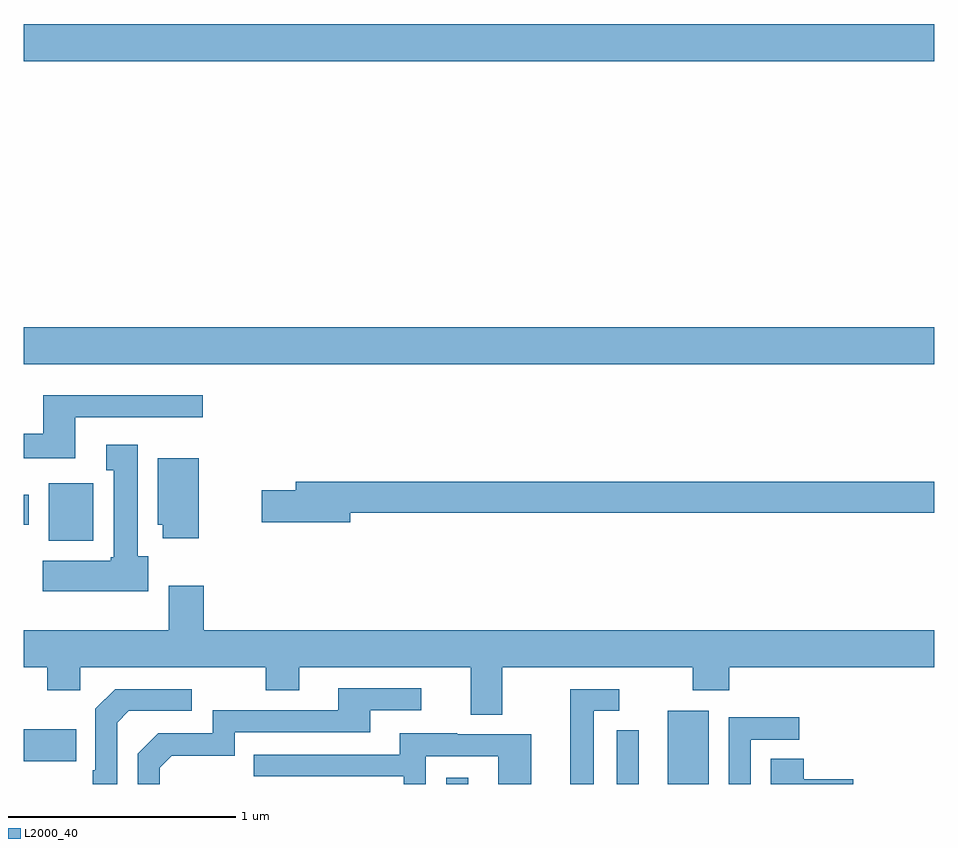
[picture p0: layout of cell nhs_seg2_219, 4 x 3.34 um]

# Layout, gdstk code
import gdstk
lib = gdstk.Library(unit=1e-6, precision=1e-09)
def R(c, l, rs):  # rectangles x0, y0, x1, y1
    for r in rs: c.add(gdstk.rectangle(r[:2], r[2:], *l))
def P(c, l, *ps):  # polygons
    for p in ps: c.add(gdstk.Polygon(p, *l))
L2000_40 = (2000, 40)

nhs_seg2_219 = lib.new_cell('nhs_seg2_219')
R(nhs_seg2_219, L2000_40, [(122.856,637.8,122.953,637.828), (123.83,637.8,124.009,638.122), (121,637.901,121.229,638.041), (121.109,638.87,121.305,639.121), (121,638.94,121.021,639.072), (121,639.644,125,639.808), (121,640.976,125,641.14)])
P(nhs_seg2_219, L2000_40, [(121.225,639.411),(121.786,639.411),(121.786,639.508),(121.085,639.508),(121.085,639.34),(121,639.34),(121,639.231),(121.225,639.231)],
  [(121.546,638.802),(121.501,638.802),(121.501,639.292),(121.361,639.292),(121.361,639.179),(121.394,639.179),(121.394,638.796),(121.381,638.796),(121.381,638.782),(121.082,638.782),(121.082,638.648),(121.546,638.648)],
  [(121.768,639.232),(121.589,639.232),(121.589,638.94),(121.61,638.94),(121.61,638.88),(121.768,638.88)],
  [(122.434,638.992),(125,638.992),(125,639.128),(122.195,639.128),(122.195,639.092),(122.046,639.092),(122.046,638.95),(122.434,638.95)],
  [(123.103,638.312),(123.94,638.312),(123.94,638.213),(124.1,638.213),(124.1,638.312),(125,638.312),(125,638.476),(121.79,638.476),(121.79,638.671),(121.637,638.671),(121.637,638.476),(121,638.476),(121,638.312),(121.102,638.312),(121.102,638.213),(121.248,638.213),(121.248,638.312),(122.062,638.312),(122.062,638.213),(122.209,638.213),(122.209,638.312),(122.963,638.312),(122.963,638.104),(123.103,638.104)],
  [(121.596,637.872),(121.649,637.925),(121.926,637.925),(121.926,638.028),(122.521,638.028),(122.521,638.124),(122.746,638.124),(122.746,638.22),(122.381,638.22),(122.381,638.124),(121.83,638.124),(121.83,638.022),(121.59,638.022),(121.5,637.932),(121.5,637.8),(121.596,637.8)],
  [(123.505,638.121),(123.616,638.121),(123.616,638.217),(123.401,638.217),(123.401,637.8),(123.505,637.8)],
  [(121.41,638.07),(121.461,638.121),(121.738,638.121),(121.738,638.217),(121.401,638.217),(121.314,638.13),(121.314,637.861),(121.302,637.861),(121.302,637.8),(121.41,637.8)],
  [(124.194,637.995),(124.408,637.995),(124.408,638.094),(124.098,638.094),(124.098,637.8),(124.194,637.8)],
  [(123.701,637.882),(123.702,637.882),(123.702,638.036),(123.606,638.036),(123.606,637.8),(123.701,637.8)],
  [(122.766,637.923),(123.084,637.923),(123.084,637.8),(123.229,637.8),(123.229,638.019),(122.905,638.019),(122.905,638.023),(122.651,638.023),(122.651,637.929),(122.011,637.929),(122.011,637.833),(122.67,637.833),(122.67,637.8),(122.766,637.8)],
  [(124.645,637.82),(124.427,637.82),(124.427,637.91),(124.283,637.91),(124.283,637.8),(124.645,637.8)])

lib.write_gds('nhs_seg2_219.gds')
